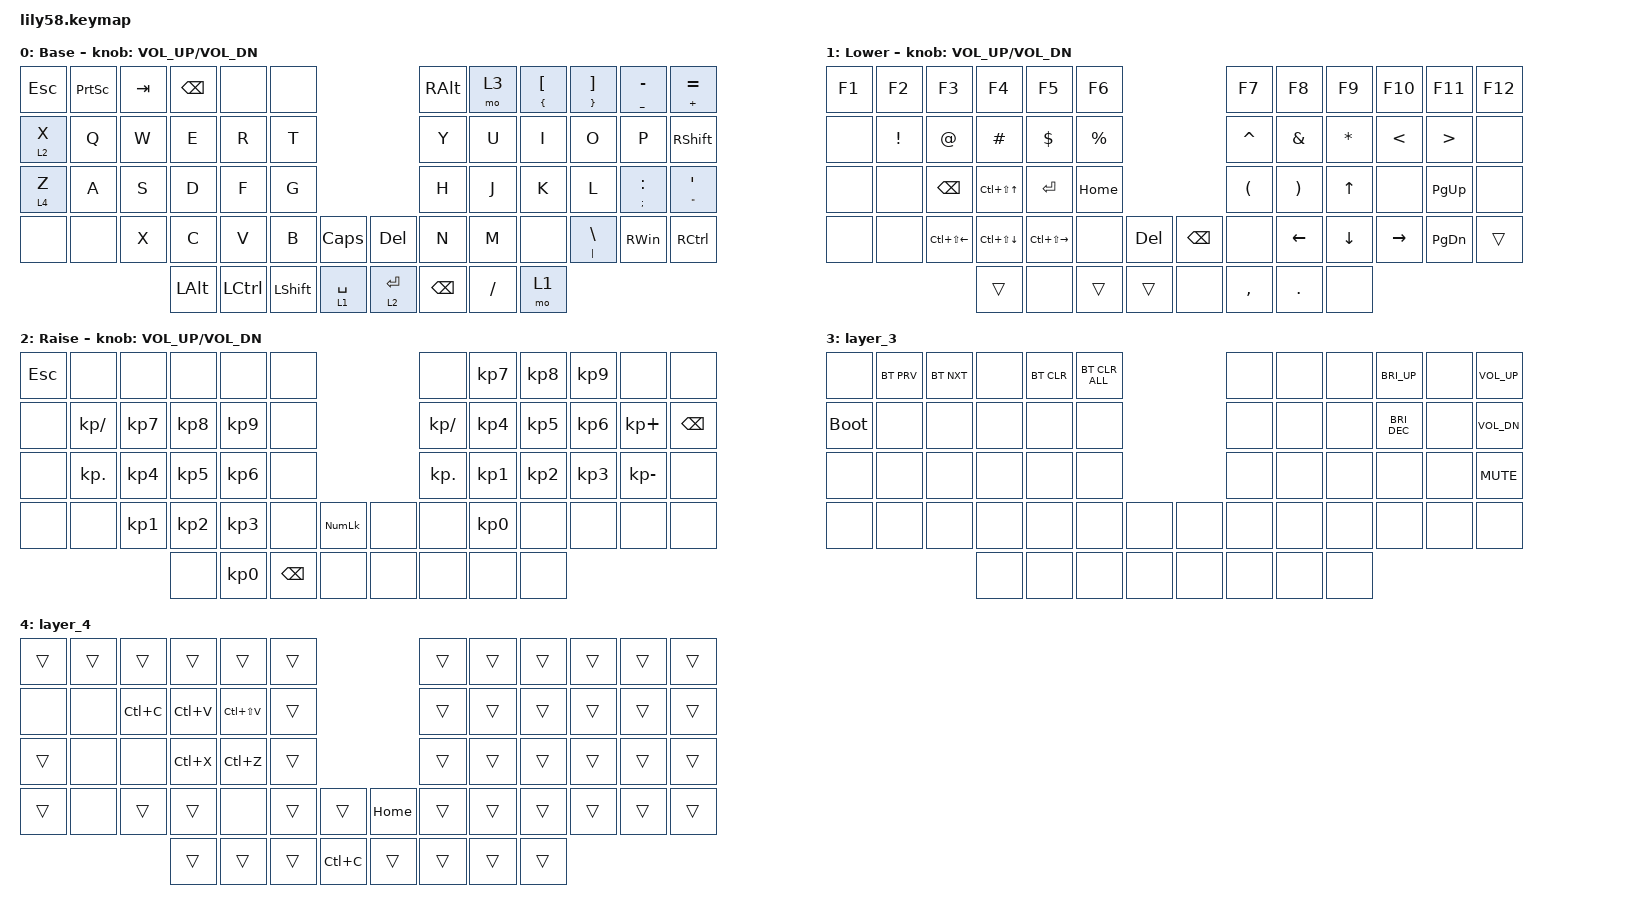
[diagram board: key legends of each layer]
/*
 * Copyright (c) 2020 The ZMK Contributors
 *
 * SPDX-License-Identifier: MIT
 */

#include <behaviors.dtsi>
#include <dt-bindings/zmk/bt.h>
#include <dt-bindings/zmk/keys.h>

&mt { tapping-term-ms = <400>; };

/ {
    keymap {
        compatible = "zmk,keymap";

        default_layer {
            // ------------------------------------------------------------------------------------------------------------
            // |  ESC  |  1  |  2  |  3   |  4   |  5   |                   |  6   |  7    |  8    |  9   |   0   |   `   |
            // |  TAB  |  Q  |  W  |  E   |  R   |  T   |                   |  Y   |  U    |  I    |  O   |   P   |   -   |
            // |  CTRL |  A  |  S  |  D   |  F   |  G   |                   |  H   |  J    |  K    |  L   |   ;   |   '   |
            // | SHIFT |  Z  |  X  |  C   |  V   |  B   |   "["  |  |  "]"  |  N   |  M    |  ,    |  .   |   /   | SHIFT |
            //                     | ALT  | GUI  | LOWER|  SPACE |  | ENTER | RAISE| BSPC  | GUI   |

            display-name = "Base";
            bindings = <
&kp ESC  &kp PRINTSCREEN  &kp TAB  &kp BACKSPACE  &none             &none                                       &kp RIGHT_ALT  &mo 3      &mt LEFT_BRACE LBKT  &mt RIGHT_BRACE RBKT  &mt UNDER MINUS  &mt PLUS EQUAL
&lt 2 X  &kp Q            &kp W    &kp E          &kp R             &kp T                                       &kp Y          &kp U      &kp I                &kp O                 &kp P            &kp RIGHT_SHIFT
&lt 4 Z  &kp A            &kp S    &kp D          &kp F             &kp G                                       &kp H          &kp J      &kp K                &kp L                 &mt SEMI COLON   &mt DOUBLE_QUOTES APOSTROPHE
&none    &none            &kp X    &kp C          &kp V             &kp B           &kp CAPS       &kp DELETE   &kp N          &kp M      &none                &mt PIPE BACKSLASH    &kp RIGHT_WIN    &kp RIGHT_CONTROL
                                   &kp LEFT_ALT   &kp LEFT_CONTROL  &kp LEFT_SHIFT  &lt 1 SPACE    &lt 2 ENTER  &kp BACKSPACE  &kp SLASH  &mo 1
            >;

            sensor-bindings = <&inc_dec_kp C_VOL_UP C_VOL_DN>;
        };

        lower_layer {
            // ------------------------------------------------------------------------------------------------------------
            // | BTCLR | BT1 | BT2 |  BT3 |  BT4 |  BT5 |                   |      |       |       |      |       |       |
            // |  F1   |  F2 |  F3 |  F4  |  F5  |  F6  |                   |  F7  |  F8   |  F9   |  F10 |  F11  |  F12  |
            // |   `   |  !  |  @  |  #   |  $   |  %   |                   |  ^   |  &    |  *    |  (   |   )   |   ~   |
            // |       |     |     |      |      |      |        |  |       |      |  _    |  +    |  {   |   }   |  "|"  |
            //                     |      |      |      |        |  |       |      |       |       |

            display-name = "Lower";
            bindings = <
&kp F1  &kp F2    &kp F3            &kp F4            &kp F5                   &kp F6                               &kp F7                &kp F8                 &kp F9        &kp F10        &kp F11           &kp F12
&none   &kp EXCL  &kp AT_SIGN       &kp HASH          &kp DOLLAR               &kp PERCENT                          &kp CARET             &kp AMPS               &kp ASTERISK  &kp LESS_THAN  &kp GREATER_THAN  &none
&none   &none     &kp BACKSPACE     &kp LC(LS(UP))    &kp ENTER                &kp HOME                             &kp LEFT_PARENTHESIS  &kp RIGHT_PARENTHESIS  &kp UP        &none          &kp PAGE_UP       &none
&none   &none     &kp LC(LS(LEFT))  &kp LC(LS(DOWN))  &kp LC(LS(RIGHT_ARROW))  &none        &kp DELETE    &kp BSPC  &none                 &kp LEFT_ARROW         &kp DOWN      &kp RIGHT      &kp PAGE_DOWN     &trans
                                    &trans            &none                    &trans       &trans        &none     &kp COMMA             &kp PERIOD             &none
            >;

            sensor-bindings = <&inc_dec_kp C_VOL_UP C_VOL_DN>;
        };

        raise_layer {
            // ------------------------------------------------------------------------------------------------------------
            // |       |     |     |      |      |      |                   |      |       |       |      |       |       |
            // |   `   |  1  |  2  |  3   |  4   |  5   |                   |  6   |   7   |   8   |  9   |   0   |       |
            // |   F1  |  F2 |  F3 |  F4  |  F5  |  F6  |                   |      |   <-  |   v   |  ^   |  ->   |       |
            // |   F7  |  F8 |  F9 |  F10 |  F11 |  F12 |        |  |       |  +   |   -   |   =   |  [   |   ]   |   \   |
            //                     |      |      |      |        |  |       |      |       |       |

            display-name = "Raise";
            bindings = <
&kp ESC  &none         &none      &none      &none      &none                                   &none         &kp KP_N7  &kp KP_N8  &kp KP_N9  &none         &none
&none    &kp KP_SLASH  &kp KP_N7  &kp KP_N8  &kp KP_N9  &none                                   &kp KP_SLASH  &kp KP_N4  &kp KP_N5  &kp KP_N6  &kp KP_PLUS   &kp BSPC
&none    &kp KP_DOT    &kp KP_N4  &kp KP_N5  &kp KP_N6  &none                                   &kp KP_DOT    &kp KP_N1  &kp KP_N2  &kp KP_N3  &kp KP_MINUS  &none
&none    &none         &kp KP_N1  &kp KP_N2  &kp KP_N3  &none          &kp KP_NUMLOCK    &none  &none         &kp KP_N0  &none      &none      &none         &none
                                  &none      &kp KP_N0  &kp BACKSPACE  &none             &none  &none         &none      &none
            >;

            sensor-bindings = <&inc_dec_kp C_VOL_UP C_VOL_DN>;
        };

        layer_3 {
            bindings = <
&none        &bt BT_PRV  &bt BT_NXT  &none  &bt BT_CLR  &bt BT_CLR_ALL                  &none  &none  &none  &kp C_BRI_UP   &none  &kp C_VOLUME_UP
&bootloader  &none       &none       &none  &none       &none                           &none  &none  &none  &kp C_BRI_DEC  &none  &kp C_VOL_DN
&none        &none       &none       &none  &none       &none                           &none  &none  &none  &none          &none  &kp C_MUTE
&none        &none       &none       &none  &none       &none           &none    &none  &none  &none  &none  &none          &none  &none
                                     &none  &none       &none           &none    &none  &none  &none  &none
            >;
        };

        layer_4 {
            bindings = <
&trans  &trans  &trans     &trans     &trans         &trans                         &trans  &trans  &trans  &trans  &trans  &trans
&none   &none   &kp LC(C)  &kp LC(V)  &kp LC(LS(V))  &trans                         &trans  &trans  &trans  &trans  &trans  &trans
&trans  &none   &none      &kp LC(X)  &kp LC(Z)      &trans                         &trans  &trans  &trans  &trans  &trans  &trans
&trans  &none   &trans     &trans     &none          &trans  &trans       &kp HOME  &trans  &trans  &trans  &trans  &trans  &trans
                           &trans     &trans         &trans  &kp LC(C)    &trans    &trans  &trans  &trans
            >;
        };
    };
};
